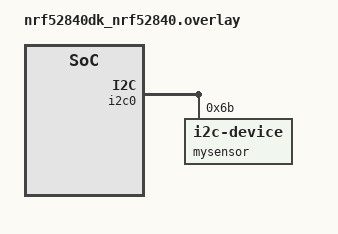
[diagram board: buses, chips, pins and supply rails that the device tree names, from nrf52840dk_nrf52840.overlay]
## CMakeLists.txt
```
# SPDX-License-Identifier: Apache-2.0

cmake_minimum_required(VERSION 3.20.0)

find_package(Zephyr REQUIRED HINTS $ENV{ZEPHYR_BASE})
project(hello_world)

target_sources(app PRIVATE src/main.c
                           src/mcp23017.c 
                           src/ism330dhcx_reg.c
)
```

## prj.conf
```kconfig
# nothing here
CONFIG_I2C=y
CONFIG_CBPRINTF_FP_SUPPORT=y
```

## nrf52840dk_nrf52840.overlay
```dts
// To get started, press Ctrl+Space to bring up the completion menu and view the available nodes.

// You can also use the buttons in the sidebar to perform actions on nodes.
// Actions currently available include:

// * Enabling / disabling the node
// * Adding the bus to a bus
// * Removing the node
// * Connecting ADC channels

// For more help, browse the DeviceTree documentation at https://docs.zephyrproject.org/latest/guides/dts/index.html
// You can also visit the nRF DeviceTree extension documentation at https://nrfconnect.github.io/vscode-nrf-connect/devicetree/nrfdevicetree.html
&i2c0 {  
    mysensor: mysensor@6B{
        compatible = "i2c-device";
        status = "okay";
        reg = < 0x6B >;
    };
};
  
```

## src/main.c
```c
/*
 * Copyright (c) 2012-2014 Wind River Systems, Inc.
 *
 * SPDX-License-Identifier: Apache-2.0
 */

#include <zephyr/kernel.h>
#include <zephyr/sys/printk.h>

#include <zephyr/drivers/i2c.h>
//#include "mcp23017.h"
#include "ism330dhcx_reg.h"

/* Private variables ---------------------------------------------------------*/
static int16_t data_raw_acceleration[3];
static int16_t data_raw_angular_rate[3];
//static int16_t data_raw_temperature;
static float acceleration_mg[3];
static float angular_rate_mdps[3];
//static float temperature_degC;
static uint8_t whoamI, rst;
//static uint8_t tx_buffer[1000];

#define SLEEP_MS 50

static int32_t platform_write(void *handle, uint8_t reg, const uint8_t *bufp, uint16_t len);
static int32_t platform_read(void *handle, uint8_t reg, uint8_t *bufp, uint16_t len);

#define I2C0_NODE DT_NODELABEL(mysensor)
static const struct i2c_dt_spec dev_i2c = I2C_DT_SPEC_GET(I2C0_NODE);

void main(void)
{
	uint8_t portb_val;
	uint8_t option;
	stmdev_ctx_t dev_ctx;
	
	printk("I2C Accel Tests\n");

	if (!device_is_ready(dev_i2c.bus)) {
		printk("I2C bus %s is not ready!\n\r",dev_i2c.bus->name);		
	}


	  /* Initialize mems driver interface */
	dev_ctx.write_reg = platform_write;
	dev_ctx.read_reg = platform_read;

	k_msleep(SLEEP_MS);
	/* Check device ID */
	ism330dhcx_device_id_get(&dev_ctx, &whoamI);
	printk("ISM whoiam %x\n", whoamI);

/* Restore default configuration */
    ism330dhcx_reset_set(&dev_ctx, PROPERTY_ENABLE);
    do {
        ism330dhcx_reset_get(&dev_ctx, &rst);
        printk("ISM resetting dev %x\n", rst);
    } while (rst);

	option = 'a';

	 /* Start device configuration. */
      ism330dhcx_device_conf_set(&dev_ctx, PROPERTY_ENABLE);
      /* Enable Block Data Update */
      ism330dhcx_block_data_update_set(&dev_ctx, PROPERTY_ENABLE);
      /* Set Output Data Rate */
      ism330dhcx_xl_data_rate_set(&dev_ctx, ISM330DHCX_XL_ODR_104Hz);
      ism330dhcx_gy_data_rate_set(&dev_ctx, ISM330DHCX_GY_ODR_104Hz);
      /* Set full scale */
      ism330dhcx_xl_full_scale_set(&dev_ctx, ISM330DHCX_2g);
      ism330dhcx_gy_full_scale_set(&dev_ctx, ISM330DHCX_2000dps);
      /* Configure filtering chain(No aux interface)
       *
       * Accelerometer - LPF1 + LPF2 path
       */
      ism330dhcx_xl_hp_path_on_out_set(&dev_ctx, ISM330DHCX_LP_ODR_DIV_100);
      ism330dhcx_xl_filter_lp2_set(&dev_ctx, PROPERTY_ENABLE);

      //ism330dhcx_g
      ism330dhcx_gy_lp1_bandwidth_set(&dev_ctx, ISM330DHCX_MEDIUM);
      ism330dhcx_gy_filter_lp1_set(&dev_ctx, PROPERTY_ENABLE);

  /* Read samples in polling mode (no int) */
	while(1) {
		 uint8_t reg;

		    /* Read output only if new xl value is available */
		 switch (option) {
		 	 	 	 case	'a':
		 	 	 		 	 	 ism330dhcx_xl_flag_data_ready_get(&dev_ctx, &reg);

		 	 	 		 	 	 if (reg) {
		 	 	 		 	 		 // Read acceleration field data
		 	 	 		 	 		 memset(data_raw_acceleration, 0x00, 3 * sizeof(int16_t));
		 	 	 		 	 		 ism330dhcx_acceleration_raw_get(&dev_ctx, data_raw_acceleration);
		 	 	 		 	 		 acceleration_mg[0] = ism330dhcx_from_fs2g_to_mg(data_raw_acceleration[0]);
		 	 	 		 	 		 acceleration_mg[1] = ism330dhcx_from_fs2g_to_mg(data_raw_acceleration[1]);
		 	 	 		 	 		 acceleration_mg[2] = ism330dhcx_from_fs2g_to_mg(data_raw_acceleration[2]);
		 	 	 		 	 		 //sprintf((char *)tx_buffer,"Acceleration [mg]:%4.2f\t%4.2f\t%4.2f\r\n", acceleration_mg[0], acceleration_mg[1], acceleration_mg[2]);
		 	 	 		 	 		 printf("Accel [mg]:%4.2f\t%4.2f\t%4.2f\r\n", acceleration_mg[0], acceleration_mg[1], acceleration_mg[2]);
		 	 	 		 	 		 //printf("Accel z [mg]:%4.2f\n", (acceleration_mg[2]+119));

		 	 	 		 	 	 }
		 	 	 		 	 	 break;
		 	 	 	 case 'g':
		 	 	 		 	 	 ism330dhcx_gy_flag_data_ready_get(&dev_ctx, &reg);

		 	 	 				 if (reg) {
		 	 	 				      // Read angular rate field data
		 	 	 				      memset(data_raw_angular_rate, 0x00, 3 * sizeof(int16_t));
		 	 	 				      ism330dhcx_angular_rate_raw_get(&dev_ctx, data_raw_angular_rate);
		 	 	 				      angular_rate_mdps[0] = ism330dhcx_from_fs2000dps_to_mdps(data_raw_angular_rate[0]);
		 	 	 				      angular_rate_mdps[1] = ism330dhcx_from_fs2000dps_to_mdps(data_raw_angular_rate[1]);
		 	 	 				      angular_rate_mdps[2] = ism330dhcx_from_fs2000dps_to_mdps(data_raw_angular_rate[2]);
		 	 	 				      printf("Angrate [mdps]:%4.2f\t%4.2f\t%4.2f\r\n", angular_rate_mdps[0], angular_rate_mdps[1], angular_rate_mdps[2]);

		 	 	 				 }
		 	 	 				 break;


		 	 	 	 default: 	break;
		 }

		 k_msleep(SLEEP_MS);

	}


	while(1) {
		k_msleep(SLEEP_MS);

	}

/*
	Mcp23017_open();
	Mcp23017_setTris(PORTA,0x7f);
	Mcp23017_setTris(PORTB,0xff);
		
	while (1) {
		k_msleep(SLEEP_MS);
		Mcp23017_writePort(PORTA,0x00);
		
		portb_val = Mcp23017_readPort(PORTB);
		printk("PORTB = %x\n",portb_val);

		k_msleep(SLEEP_MS);
		Mcp23017_writePort(PORTA,0xff);
	}*/

}

static int32_t platform_write(void *handle, uint8_t reg, const uint8_t *bufp,
                              uint16_t len)
{
#if defined(NUCLEO_F411RE)
  HAL_I2C_Mem_Write(handle, ISM330DHCX_I2C_ADD_H, reg,
                    I2C_MEMADD_SIZE_8BIT, (uint8_t*) bufp, len, 1000);
#elif defined(STEVAL_MKI109V3)
  HAL_GPIO_WritePin(CS_up_GPIO_Port, CS_up_Pin, GPIO_PIN_RESET);
  HAL_SPI_Transmit(handle, &reg, 1, 1000);
  HAL_SPI_Transmit(handle, (uint8_t*) bufp, len, 1000);
  HAL_GPIO_WritePin(CS_up_GPIO_Port, CS_up_Pin, GPIO_PIN_SET);
#elif defined(SPC584B_DIS)
  i2c_lld_write(handle,  ISM330DHCX_I2C_ADD_H & 0xFE, reg,
               (uint8_t*) bufp, len);
#endif

	uint8_t buffer[16];
	uint8_t i,aux;
	int32_t ret; 

	buffer[0] = reg;

	aux = 1;
	for (i = 0; i < len; i++) {
		buffer[aux] = bufp[i];
		aux++;
	}
	//SPI_transaction(buffer, aux);

	ret = i2c_write_dt(&dev_i2c, buffer, aux);

	return 0;
}

/*
 * @brief  Read generic device register (platform dependent)
 *
 * @param  handle    customizable argument. In this examples is used in
 *                   order to select the correct sensor bus handler.
 * @param  reg       register to read
 * @param  bufp      pointer to buffer that store the data read
 * @param  len       number of consecutive register to read
 *
 */
static int32_t platform_read(void *handle, uint8_t reg, uint8_t *bufp,
                             uint16_t len)
{
#if defined(NUCLEO_F411RE)
  HAL_I2C_Mem_Read(handle, ISM330DHCX_I2C_ADD_H, reg,
                   I2C_MEMADD_SIZE_8BIT, bufp, len, 1000);
#elif defined(STEVAL_MKI109V3)
  reg |= 0x80;
  HAL_GPIO_WritePin(CS_up_GPIO_Port, CS_up_Pin, GPIO_PIN_RESET);
  HAL_SPI_Transmit(handle, &reg, 1, 1000);
  HAL_SPI_Receive(handle, bufp, len, 1000);
  HAL_GPIO_WritePin(CS_up_GPIO_Port, CS_up_Pin, GPIO_PIN_SET);
#elif defined(SPC584B_DIS)
  i2c_lld_read(handle, ISM330DHCX_I2C_ADD_H & 0xFE, reg, bufp, len);
#endif

	uint8_t buffer[16];
	uint8_t i,aux;
	uint32_t ret;

	//uint8_t reading[1]= {0};
    uint8_t sensor_regs[1];
	
	sensor_regs[0] = reg;
	ret = i2c_write_read_dt(&dev_i2c,&sensor_regs[0],1,bufp,len);

	return 0;
}
```

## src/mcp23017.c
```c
#include "mcp23017.h"

#include <zephyr/kernel.h>

#include <zephyr/drivers/i2c.h>
#include <zephyr/sys/printk.h>

#define I2C0_NODE DT_NODELABEL(mysensor)

static const struct i2c_dt_spec dev_i2c = I2C_DT_SPEC_GET(I2C0_NODE);

int32_t Mcp23017_open(void)
{
    uint8_t config[2] = {MCP23017_IOCON,0x20};
    int32_t ret;

    if (!device_is_ready(dev_i2c.bus)) {
		printk("I2C bus %s is not ready!\n\r",dev_i2c.bus->name);
		return -1;
	}

    ret = i2c_write_dt(&dev_i2c, config, sizeof(config));
    if(ret != 0){
		printk("Failed to write to I2C device address %x at Reg. %x \n", dev_i2c.addr,config[0]);
		return -1;
	}

    return 0;

}

int32_t Mcp23017_setTris(uint8_t port, uint8_t tris)
{
   uint8_t config[2];
   int ret;

    if (port == PORTA) {
        config[0] = MCP23017_IODIRA;
        config[1] = tris;

        //Configure I/O portA       
        ret = i2c_write_dt(&dev_i2c, config, sizeof(config));        
        if(ret != 0){
		    printk("Failed to write to I2C device address %x at Reg. %x \n", dev_i2c.addr,config[0]);
		    return -1;
        }
	} else if (port == PORTB) {
        config[0] = MCP23017_IODIRB;
        config[1] = tris;

        //Configure I/O portA       
        ret = i2c_write_dt(&dev_i2c, config, sizeof(config));        
        if(ret != 0){
		    printk("Failed to write to I2C device address %x at Reg. %x \n", dev_i2c.addr,config[0]);
		    return -1;      
        }        
    }
    
    return 0;
}

int32_t Mcp23017_writePort(uint8_t port, uint8_t data)
{
   uint8_t config[2];
   int ret;

    if (port == PORTA) {
        config[0] = MCP23017_GPIOA;
        config[1] = data;

        //Configure I/O portA       
        ret = i2c_write_dt(&dev_i2c, config, sizeof(config));        
        if(ret != 0){
		    printk("Failed to write to I2C device address %x at Reg. %x \n", dev_i2c.addr,config[0]);
		    return -1;
        }
	} else if (port == PORTB) {
        config[0] = MCP23017_GPIOB;
        config[1] = data;

        //Configure I/O portA       
        ret = i2c_write_dt(&dev_i2c, config, sizeof(config));        
        if(ret != 0){
		    printk("Failed to write to I2C device address %x at Reg. %x \n", dev_i2c.addr,config[0]);
		    return -1;      
        }        
    }


    return 0;
}

uint8_t Mcp23017_readPort(uint8_t port)
{
    //uint8_t config[2];
    uint8_t reading[1]= {0};
    uint8_t sensor_regs[1];
   int ret;

    if (port == PORTA) {
        //read I/O portA       

        sensor_regs[0] = MCP23017_GPIOA;
        ret = i2c_write_read_dt(&dev_i2c,&sensor_regs[0],1,&reading[0],1);
        if(ret != 0){
	        printk("Failed to write/read I2C device address %x at Reg. %x \r\n", dev_i2c.addr,sensor_regs[0]);
        }
        
	} else if (port == PORTB) {
        //read I/O portB       

        sensor_regs[0] = MCP23017_GPIOB;
        ret = i2c_write_read_dt(&dev_i2c,&sensor_regs[0],1,&reading[0],1);
        if(ret != 0){
	        printk("Failed to write/read I2C device address %x at Reg. %x \r\n", dev_i2c.addr,sensor_regs[0]);
        }
    }

    return reading[0];    
}
```

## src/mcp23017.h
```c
#ifndef MCP23017_H
#define MCP23017_H

#include <inttypes.h>

//Control Reg.
#define MCP23017_IOCON 0x0A
//Pin direction Regs.
#define MCP23017_IODIRA 0x00
#define MCP23017_IODIRB 0x01
//Pull-up resistors Regs.
#define MCP23017_GPPUA 0x0C
#define MCP23017_GPPUB 0x0D
//Port registers
#define MCP23017_GPIOA 0x12
#define MCP23017_GPIOB 0x13
//Interrupt enable registers
#define MCP23017_GPINTENA 0x04
#define MCP23017_GPINTENB 0x05
//Interrupt default compare register
#define MCP23017_DEFVALA 0x06
#define MCP23017_DEFVALB 0x07
//Interrupt control registers
#define MCP23017_INTCONA 0x08
#define MCP23017_INTCONB 0x09
//Interrupt flag registers
#define MCP23017_INTFA 0x0E
#define MCP23017_INTFB 0x0F
//Interrupt capture registers
#define MCP23017_INTCAPA 0x10
#define MCP23017_INTCAPB 0x11

//Port defs.
#define PORTA 0
#define PORTB 1

int32_t Mcp23017_open(void);
int32_t Mcp23017_setTris(uint8_t port, uint8_t tris);
int32_t Mcp23017_writePort(uint8_t port, uint8_t data);
uint8_t Mcp23017_readPort(uint8_t port);


#endif // MCP23017_H
```
